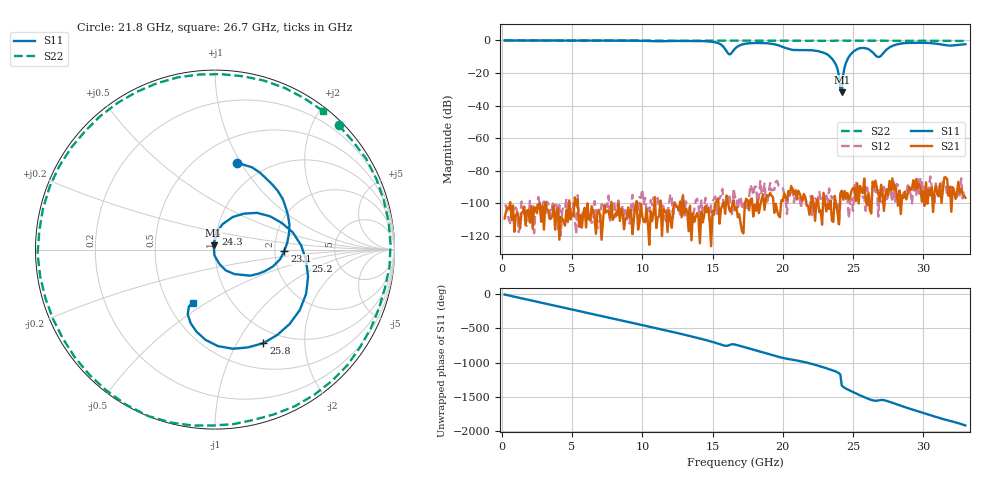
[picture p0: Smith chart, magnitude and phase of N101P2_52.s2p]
# GHZ S RI R 50
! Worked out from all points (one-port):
!   329 points, 200 MHz to 33 GHz, reference 50 ohm
!   lowest |S11| = -31.8 dB at 24.2 GHz (marker M1), VSWR 1.05, Z = 49.2 + j2.41 ohm
!   |S11| at or under -10 dB: 23.36 GHz to 24.71 GHz (1.351 GHz wide, 5.62 % of centre); 26.74 GHz to 26.91 GHz (165.8 MHz wide, 0.618 % of centre)
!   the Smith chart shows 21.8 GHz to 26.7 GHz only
!   S11 on the Smith chart (normalised r, x): 21.8 GHz: 0.75, +0.97; 23.1 GHz: 2.26, -0.04; 24.3 GHz: 0.99, +0.17; 25.2 GHz: 3.00, -0.49; 25.8 GHz: 0.82, -1.30; 26.7 GHz: 0.66, -0.44
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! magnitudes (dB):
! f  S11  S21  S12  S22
! 200 MHz  0.0  -109.3  -101.7  0.0
! 5.7 GHz  0.0  -114.9  -104.8  -0.1
! 11.2 GHz  -0.5  -107.9  -103.5  -0.1
! 15.2 GHz  -1.1  -100.1  -95.8  -0.1
! 16.2 GHz  -8.6  -104.2  -95.8  -0.2
! 16.6 GHz  -5.1  -104.3  -96.4  -0.1
! 18.4 GHz  -1.6  -101.2  -86.4  -0.1
! 21.8 GHz  -6.0  -101.5  -99.0  -0.2
! 22.1 GHz  -6.1  -95.6  -107.3  -0.2
! 23.1 GHz  -8.3  -105.0  -95.3  -0.2
! 23.8 GHz  -15.1  -100.7  -102.0  -0.1
! 24 GHz  -21.7  -113.0  -113.5  0.0
! 24.1 GHz  -29.9  -94.0  -98.8  0.0
! 24.2 GHz  -31.8  -92.3  -98.0  -0.1
! 24.3 GHz  -21.2  -97.5  -98.8  -0.1
! 24.6 GHz  -11.8  -93.6  -96.6  -0.2
! 25.2 GHz  -5.8  -98.6  -86.4  -0.1
! 25.8 GHz  -4.6  -84.7  -96.1  -0.2
! 26.7 GHz  -9.9  -90.9  -89.8  -0.2
! 27.6 GHz  -4.3  -86.3  -93.8  -0.2
! 28.8 GHz  -1.6  -97.6  -94.0  -0.2
! 33 GHz  -2.3  -96.6  -91.5  -0.3
